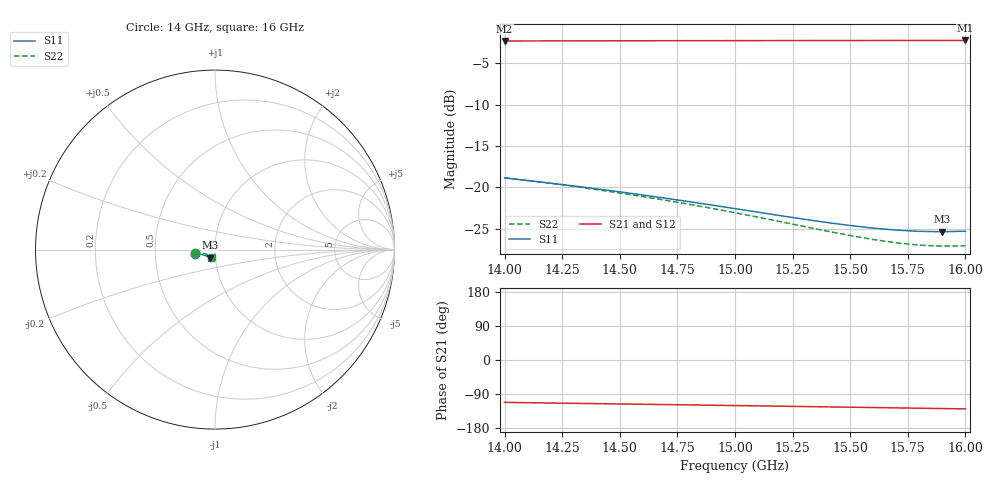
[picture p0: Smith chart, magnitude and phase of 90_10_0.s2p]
! Created Fri Dec 11 14:07:12 2020
# hz S ma R 50
! 2 Port Network Data from Sweep1.SP1.SP block
! freq  magS11  angS11  magS21  angS21  magS12  angS12  magS22  angS22
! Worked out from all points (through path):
!   21 points, 14 GHz to 16 GHz, reference 50 ohm
!   highest |S21| = -2.26 dB at 16 GHz (marker M1); lowest = -2.3 dB at 14 GHz (marker M2)
!   group delay of S21, straight-line fit = 23.9 ps
!   lowest |S11| = -25.4 dB at 15.9 GHz (marker M3), VSWR 1.11, Z = 47 - j4.32 ohm
!   |S11| at or under -10 dB: start of sweep to end of sweep
!   |S22| runs from -27.1 to -18.8 dB; largest |S21 - S12| = 0
1.4e10  0.1138 -167.4  0.7652 -111.8  0.7652 -111.8  0.1142 -170.7
1.41e10  0.1098 -167.2  0.7656 -112.6  0.7656 -112.6  0.1099 -170.6
1.42e10  0.1058 -166.8  0.766 -113.5  0.766 -113.5  0.1056 -170.4
1.43e10  0.1018 -166.3  0.7663 -114.3  0.7663 -114.3  0.1012 -170.1
1.44e10  0.09783 -165.7  0.7667 -115.1  0.7667 -115.1  0.09678 -169.7
1.45e10  0.09381 -164.9  0.7671 -116.0  0.7671 -116.0  0.09234 -169.1
1.46e10  0.08981 -163.9  0.7674 -116.8  0.7674 -116.8  0.08788 -168.4
1.47e10  0.08583 -162.8  0.7677 -117.7  0.7677 -117.7  0.08342 -167.5
1.48e10  0.08191 -161.4  0.7681 -118.5  0.7681 -118.5  0.07897 -166.3
1.49e10  0.07806 -159.7  0.7684 -119.4  0.7684 -119.4  0.07456 -164.9
1.5e10  0.07432 -157.8  0.7687 -120.2  0.7687 -120.2  0.07022 -163.1
1.51e10  0.07071 -155.5  0.769 -121.1  0.769 -121.1  0.06598 -160.9
1.52e10  0.0673 -152.8  0.7693 -122.0  0.7693 -122.0  0.06188 -158.3
1.53e10  0.06412 -149.7  0.7695 -122.8  0.7695 -122.8  0.05799 -155.1
1.54e10  0.06125 -146.1  0.7697 -123.7  0.7697 -123.7  0.05438 -151.4
1.55e10  0.05874 -142.1  0.7699 -124.6  0.7699 -124.6  0.05114 -146.9
1.56e10  0.05668 -137.6  0.7701 -125.5  0.7701 -125.5  0.04837 -141.6
1.57e10  0.05514 -132.6  0.7703 -126.3  0.7703 -126.3  0.04619 -135.6
1.58e10  0.05419 -127.3  0.7704 -127.2  0.7704 -127.2  0.04473 -128.9
1.59e10  0.05389 -121.8  0.7705 -128.1  0.7705 -128.1  0.04409 -121.7
1.6e10  0.05428 -116.2  0.7705 -129.0  0.7705 -129.0  0.04435 -114.4
